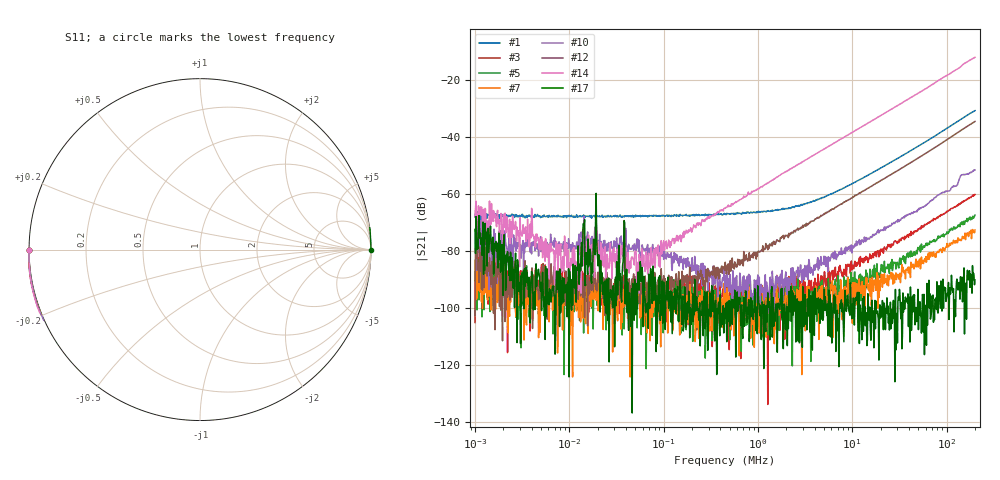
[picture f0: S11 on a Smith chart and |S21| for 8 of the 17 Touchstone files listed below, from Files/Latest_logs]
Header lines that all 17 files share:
! ListType=Log
# MHZ S RI R 50
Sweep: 1 kHz to 200 MHz
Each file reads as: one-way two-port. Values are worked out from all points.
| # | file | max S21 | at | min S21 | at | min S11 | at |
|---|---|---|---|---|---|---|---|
| 1 | 10mohm.s2p | -30.68 dB | 200 MHz | -69.6 dB | 1.158 kHz | 0.0 dB | 11.95 kHz |
| 2 | 30dBattn.s2p | -29.94 dB | 23.97 kHz | -30.0 dB | 197.6 MHz | -47.6 dB | 1.05 kHz |
| 3 | gl2_13dia.s2p | -60.18 dB | 200 MHz | -134.0 dB | 1.271 MHz | 0.0 dB | 11.95 kHz |
| 4 | gl2_13dia_rfamp.s2p | -31.36 dB | 200 MHz | -71.8 dB | 1.303 MHz | 0.0 dB | 1.025 kHz |
| 5 | gl2_26dia.s2p | -67.42 dB | 200 MHz | -123.5 dB | 8.801 kHz | 0.0 dB | 1.733 kHz |
| 6 | gl2_26dia_rfamp.s2p | -39.03 dB | 200 MHz | -81.6 dB | 1.045 MHz | 0.0 dB | 11.95 kHz |
| 7 | gl2_52dia.s2p | -72.51 dB | 188.1 MHz | -124.3 dB | 10.83 kHz | 0.0 dB | 11.95 kHz |
| 8 | gl2_52dia_rfamp.s2p | -44.56 dB | 200 MHz | -91.8 dB | 1.008 MHz | 0.0 dB | 11.95 kHz |
| 9 | gl2_104dia.s2p | -76.58 dB | 190.5 MHz | -127.0 dB | 3.548 MHz | 0.0 dB | 1.187 kHz |
| 10 | gl2_104dia_rfamp.s2p | -51.48 dB | 195.2 MHz | -101.9 dB | 1.271 MHz | 0.0 dB | 11.95 kHz |
| 11 | gl4_13dia.s2p | -30.08 dB | 200 MHz | -94.7 dB | 1.089 kHz | 0.0 dB | 11.95 kHz |
| 12 | gl4_26dia.s2p | -34.50 dB | 200 MHz | -111.6 dB | 1.958 kHz | 0.0 dB | 11.95 kHz |
| 13 | gl4_52dia.s2p | -40.74 dB | 200 MHz | -137.0 dB | 10.97 kHz | 0.0 dB | 1.158 kHz |
| 14 | gl4_52dia_rfamp.s2p | -11.92 dB | 200 MHz | -98.2 dB | 51.75 kHz | 0.0 dB | 11.95 kHz |
| 15 | gl4_104dia.s2p | -48.05 dB | 200 MHz | -125.4 dB | 126.3 kHz | 0.0 dB | 11.95 kHz |
| 16 | gl4_104dia_rfamp.s2p | -19.09 dB | 200 MHz | -106.9 dB | 9.824 kHz | 0.0 dB | 11.95 kHz |
| 17 | turbo_noise_floor.s2p | -59.78 dB | 19.24 kHz | -137.0 dB | 46.36 kHz | 0.0 dB | 23.97 kHz |
